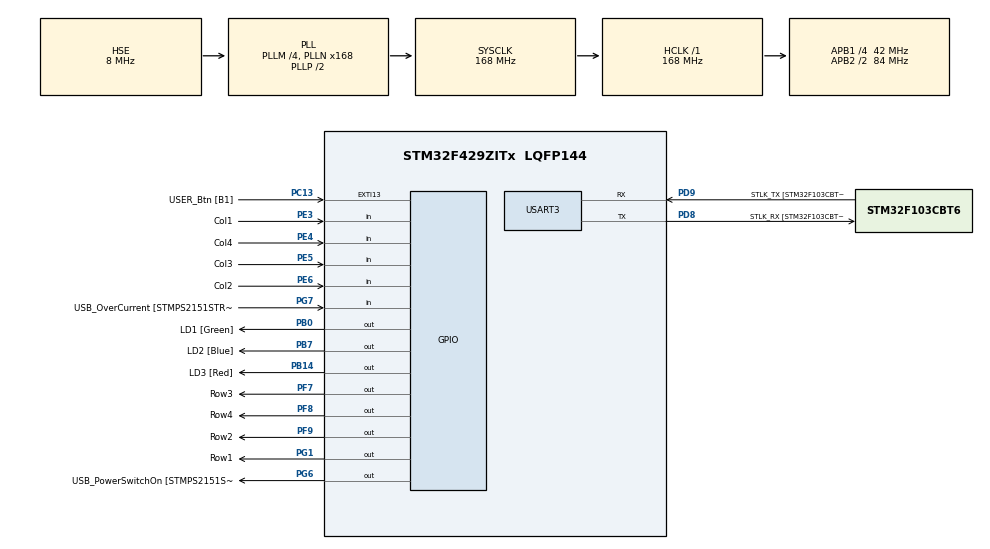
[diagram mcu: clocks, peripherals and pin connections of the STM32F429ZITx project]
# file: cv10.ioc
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Mcu.Family=STM32F4
Mcu.Name=STM32F429ZITx
Mcu.Package=LQFP144
NVIC.PriorityGroup=NVIC_PRIORITYGROUP_4
NVIC.TIM3_IRQn=true\:0\:0\:false\:false\:true\:true\:true\:true
PA1.GPIO_Label=RMII_REF_CLK [LAN8742A-CZ-TR_REFCLK0]
PA1.Signal=ETH_REF_CLK
PA10.GPIO_Label=USB_ID
PA10.Signal=USB_OTG_FS_ID
PA11.GPIO_Label=USB_DM
PA11.Signal=USB_OTG_FS_DM
PA12.GPIO_Label=USB_DP
PA12.Signal=USB_OTG_FS_DP
PA13.GPIO_Label=TMS
PA13.Mode=Serial_Wire
PA13.Signal=SYS_JTMS-SWDIO
PA14.GPIO_Label=TCK
PA14.Mode=Serial_Wire
PA14.Signal=SYS_JTCK-SWCLK
PA2.GPIO_Label=RMII_MDIO [LAN8742A-CZ-TR_MDIO]
PA2.Signal=ETH_MDIO
PA7.GPIO_Label=RMII_CRS_DV [LAN8742A-CZ-TR_CRS_DV]
PA7.Signal=ETH_CRS_DV
PA8.GPIO_Label=USB_SOF [TP1]
PA8.Signal=USB_OTG_FS_SOF
PA9.GPIO_Label=USB_VBUS
PA9.Signal=USB_OTG_FS_VBUS
PB0.GPIO_Label=LD1 [Green]
PB0.Signal=GPIO_Output
PB13.GPIO_Label=RMII_TXD1 [LAN8742A-CZ-TR_TXD1]
PB13.Signal=ETH_TXD1
PB14.GPIO_Label=LD3 [Red]
PB14.Signal=GPIO_Output
PB7.GPIO_Label=LD2 [Blue]
PB7.Signal=GPIO_Output
PC1.GPIO_Label=RMII_MDC [LAN8742A-CZ-TR_MDC]
PC1.Signal=ETH_MDC
PC13.GPIO_Label=USER_Btn [B1]
PC13.Signal=GPXTI13
PC14/OSC32_IN.Mode=LSE-External-Oscillator
PC14/OSC32_IN.Signal=RCC_OSC32_IN
PC15/OSC32_OUT.Mode=LSE-External-Oscillator
PC15/OSC32_OUT.Signal=RCC_OSC32_OUT
PC4.GPIO_Label=RMII_RXD0 [LAN8742A-CZ-TR_RXD0]
PC4.Signal=ETH_RXD0
PC5.GPIO_Label=RMII_RXD1 [LAN8742A-CZ-TR_RXD1]
PC5.Signal=ETH_RXD1
PD8.GPIO_Label=STLK_RX [STM32F103CBT6_PA3]
PD8.Mode=Asynchronous
PD8.Signal=USART3_TX
PD9.GPIO_Label=STLK_TX [STM32F103CBT6_PA2]
PD9.Mode=Asynchronous
PD9.Signal=USART3_RX
PE3.GPIO_Label=Col1
PE3.GPIO_PuPd=GPIO_PULLUP
PE3.Signal=GPIO_Input
PE4.GPIO_Label=Col4
PE4.GPIO_PuPd=GPIO_PULLUP
PE4.Signal=GPIO_Input
PE5.GPIO_Label=Col3
PE5.GPIO_PuPd=GPIO_PULLUP
PE5.Signal=GPIO_Input
PE6.GPIO_Label=Col2
PE6.GPIO_PuPd=GPIO_PULLUP
PE6.Signal=GPIO_Input
PF7.GPIO_Label=Row3
PF7.GPIO_ModeDefaultOutputPP=GPIO_MODE_OUTPUT_OD
PF7.GPIO_PuPd=GPIO_NOPULL
PF7.Signal=GPIO_Output
PF8.GPIO_Label=Row4
PF8.GPIO_ModeDefaultOutputPP=GPIO_MODE_OUTPUT_OD
PF8.GPIO_PuPd=GPIO_NOPULL
PF8.Signal=GPIO_Output
PF9.GPIO_Label=Row2
PF9.GPIO_ModeDefaultOutputPP=GPIO_MODE_OUTPUT_OD
PF9.GPIO_PuPd=GPIO_NOPULL
PF9.Signal=GPIO_Output
PG1.GPIO_Label=Row1
PG1.GPIO_ModeDefaultOutputPP=GPIO_MODE_OUTPUT_OD
PG1.GPIO_PuPd=GPIO_NOPULL
PG1.Signal=GPIO_Output
PG11.GPIO_Label=RMII_TX_EN [LAN8742A-CZ-TR_TXEN]
PG11.Signal=ETH_TX_EN
PG13.GPIO_Label=RMII_TXD0 [LAN8742A-CZ-TR_TXD0]
PG13.Signal=ETH_TXD0
PG6.GPIO_Label=USB_PowerSwitchOn [STMPS2151STR_EN]
PG6.Signal=GPIO_Output
PG7.GPIO_Label=USB_OverCurrent [STMPS2151STR_FAULT]
PG7.Signal=GPIO_Input
PH0/OSC_IN.GPIO_Label=MCO [STM32F103CBT6_PA8]
PH0/OSC_IN.Mode=HSE-External-Clock-Source
PH0/OSC_IN.Signal=RCC_OSC_IN
PH1/OSC_OUT.Mode=HSE-External-Clock-Source
PH1/OSC_OUT.Signal=RCC_OSC_OUT
ProjectManager.HeapSize=0x200
ProjectManager.StackSize=0x400
ProjectManager.TargetToolchain=STM32CubeIDE
RCC.48MHZClocksFreq_Value=48000000
RCC.AHBFreq_Value=168000000
RCC.APB1CLKDivider=RCC_HCLK_DIV4
RCC.APB1Freq_Value=42000000
RCC.APB1TimFreq_Value=84000000
RCC.APB2CLKDivider=RCC_HCLK_DIV2
RCC.APB2Freq_Value=84000000
RCC.APB2TimCLKDivider=2
RCC.APB2TimFreq_Value=168000000
RCC.CortexFreq_Value=168000000
RCC.HCLKFreq_Value=168000000
RCC.HSE_VALUE=8000000
RCC.HSI_VALUE=16000000
RCC.PLLM=4
RCC.PLLMUL=RCC_PLL_MUL9
RCC.PLLN=168
RCC.PLLQ=7
RCC.PLLSourceVirtual=RCC_PLLSOURCE_HSE
RCC.PRESCALERUSB=RCC_USBCLKSOURCE_PLL_DIV1_5
RCC.SYSCLKFreq_VALUE=168000000
RCC.SYSCLKSource=RCC_SYSCLKSOURCE_PLLCLK
RCC.SYSCLKSourceVirtual=RCC_SYSCLKSOURCE_PLLCLK
RCC.USBFreq_Value=48000000
RCC.VCOOutputFreq_Value=336000000
TIM3.Period=99
TIM3.Prescaler=8399
USART3.VirtualMode=VM_ASYNC
VP_TIM3_VS_ClockSourceINT.Mode=Internal
board=NUCLEO-F429ZI

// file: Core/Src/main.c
/* USER CODE BEGIN Header */
/**
  ******************************************************************************
  * @file           : main.c
  * @brief          : Main program body
  ******************************************************************************
  * @attention
  *
  * Copyright (c) 2023 STMicroelectronics.
  * All rights reserved.
  *
  * This software is licensed under terms that can be found in the LICENSE file
  * in the root directory of this software component.
  * If no LICENSE file comes with this software, it is provided AS-IS.
  *
  ******************************************************************************
  */
/* USER CODE END Header */
#include "main.h"

TIM_HandleTypeDef htim3;

UART_HandleTypeDef huart3;

/* USER CODE BEGIN PV */
static volatile  int8_t key = -1;
/* USER CODE END PV */

void SystemClock_Config(void);
static void MX_GPIO_Init(void);
static void MX_USART3_UART_Init(void);
static void MX_TIM3_Init(void);

/* USER CODE BEGIN 0 */
int __io_putchar(int ch)
{
ITM_SendChar(ch);
return 0;
}
/* USER CODE END 0 */

int main(void)
{

  /* MCU Configuration--------------------------------------------------------*/

  /* Reset of all peripherals, Initializes the Flash interface and the Systick. */
  HAL_Init();

  /* Configure the system clock */
  SystemClock_Config();

  /* Initialize all configured peripherals */
  MX_GPIO_Init();
  MX_USART3_UART_Init();
  MX_TIM3_Init();
  /* USER CODE BEGIN 2 */
  HAL_TIM_Base_Start_IT(&htim3);
  const char password[] = { 2, 4, 6, 8, 12 };
  uint8_t lKey;
  uint8_t lastPos;
  /* USER CODE END 2 */

  /* Infinite loop */
	while (1) {
		/* USER CODE BEGIN 3 */

		uint8_t iKey = key;

		if ((lKey != iKey) && (iKey != 255)) {
			printf("%d\n", iKey);
			lKey = iKey;

			if (iKey == password[lastPos]) {
				lastPos++;
				if (lastPos > 4) {
					lastPos = 0;
					printf("You're in! \n");
					HAL_GPIO_WritePin(LD1_GPIO_Port, LD1_Pin,1);
					HAL_Delay(5000);
					HAL_GPIO_WritePin(LD1_GPIO_Port, LD1_Pin,0);
				}
			} else {
				lastPos = 0;
			}
		} else if (iKey == 255) {
			lKey = -1;
		}
		key = -1;
		HAL_Delay(100);
	}
  /* USER CODE END 3 */
}

void SystemClock_Config(void)
{
  RCC_OscInitTypeDef RCC_OscInitStruct = {0};
  RCC_ClkInitTypeDef RCC_ClkInitStruct = {0};

  /** Configure the main internal regulator output voltage
  */
  __HAL_RCC_PWR_CLK_ENABLE();
  __HAL_PWR_VOLTAGESCALING_CONFIG(PWR_REGULATOR_VOLTAGE_SCALE1);

  /** Initializes the RCC Oscillators according to the specified parameters
  * in the RCC_OscInitTypeDef structure.
  */
  RCC_OscInitStruct.OscillatorType = RCC_OSCILLATORTYPE_HSE;
  RCC_OscInitStruct.HSEState = RCC_HSE_BYPASS;
  RCC_OscInitStruct.PLL.PLLState = RCC_PLL_ON;
  RCC_OscInitStruct.PLL.PLLSource = RCC_PLLSOURCE_HSE;
  RCC_OscInitStruct.PLL.PLLM = 4;
  RCC_OscInitStruct.PLL.PLLN = 168;
  RCC_OscInitStruct.PLL.PLLP = RCC_PLLP_DIV2;
  RCC_OscInitStruct.PLL.PLLQ = 7;
  if (HAL_RCC_OscConfig(&RCC_OscInitStruct) != HAL_OK)
  {
    Error_Handler();
  }

  /** Initializes the CPU, AHB and APB buses clocks
  */
  RCC_ClkInitStruct.ClockType = RCC_CLOCKTYPE_HCLK|RCC_CLOCKTYPE_SYSCLK
                              |RCC_CLOCKTYPE_PCLK1|RCC_CLOCKTYPE_PCLK2;
  RCC_ClkInitStruct.SYSCLKSource = RCC_SYSCLKSOURCE_PLLCLK;
  RCC_ClkInitStruct.AHBCLKDivider = RCC_SYSCLK_DIV1;
  RCC_ClkInitStruct.APB1CLKDivider = RCC_HCLK_DIV4;
  RCC_ClkInitStruct.APB2CLKDivider = RCC_HCLK_DIV2;

  if (HAL_RCC_ClockConfig(&RCC_ClkInitStruct, FLASH_LATENCY_5) != HAL_OK)
  {
    Error_Handler();
  }
}

static void MX_TIM3_Init(void)
{

  TIM_ClockConfigTypeDef sClockSourceConfig = {0};
  TIM_MasterConfigTypeDef sMasterConfig = {0};

  htim3.Instance = TIM3;
  htim3.Init.Prescaler = 8399;
  htim3.Init.CounterMode = TIM_COUNTERMODE_UP;
  htim3.Init.Period = 99;
  htim3.Init.ClockDivision = TIM_CLOCKDIVISION_DIV1;
  htim3.Init.AutoReloadPreload = TIM_AUTORELOAD_PRELOAD_DISABLE;
  if (HAL_TIM_Base_Init(&htim3) != HAL_OK)
  {
    Error_Handler();
  }
  sClockSourceConfig.ClockSource = TIM_CLOCKSOURCE_INTERNAL;
  if (HAL_TIM_ConfigClockSource(&htim3, &sClockSourceConfig) != HAL_OK)
  {
    Error_Handler();
  }
  sMasterConfig.MasterOutputTrigger = TIM_TRGO_RESET;
  sMasterConfig.MasterSlaveMode = TIM_MASTERSLAVEMODE_DISABLE;
  if (HAL_TIMEx_MasterConfigSynchronization(&htim3, &sMasterConfig) != HAL_OK)
  {
    Error_Handler();
  }

}

static void MX_USART3_UART_Init(void)
{

  huart3.Instance = USART3;
  huart3.Init.BaudRate = 115200;
  huart3.Init.WordLength = UART_WORDLENGTH_8B;
  huart3.Init.StopBits = UART_STOPBITS_1;
  huart3.Init.Parity = UART_PARITY_NONE;
  huart3.Init.Mode = UART_MODE_TX_RX;
  huart3.Init.HwFlowCtl = UART_HWCONTROL_NONE;
  huart3.Init.OverSampling = UART_OVERSAMPLING_16;
  if (HAL_UART_Init(&huart3) != HAL_OK)
  {
    Error_Handler();
  }

}

static void MX_GPIO_Init(void)
{
  GPIO_InitTypeDef GPIO_InitStruct = {0};

  /* GPIO Ports Clock Enable */
  __HAL_RCC_GPIOE_CLK_ENABLE();
  __HAL_RCC_GPIOC_CLK_ENABLE();
  __HAL_RCC_GPIOF_CLK_ENABLE();
  __HAL_RCC_GPIOH_CLK_ENABLE();
  __HAL_RCC_GPIOA_CLK_ENABLE();
  __HAL_RCC_GPIOB_CLK_ENABLE();
  __HAL_RCC_GPIOG_CLK_ENABLE();
  __HAL_RCC_GPIOD_CLK_ENABLE();

  /*Configure GPIO pin Output Level */
  HAL_GPIO_WritePin(GPIOF, Row3_Pin|Row4_Pin|Row2_Pin, GPIO_PIN_RESET);

  /*Configure GPIO pin Output Level */
  HAL_GPIO_WritePin(GPIOB, LD1_Pin|LD3_Pin|LD2_Pin, GPIO_PIN_RESET);

  /*Configure GPIO pin Output Level */
  HAL_GPIO_WritePin(GPIOG, Row1_Pin|USB_PowerSwitchOn_Pin, GPIO_PIN_RESET);

  /*Configure GPIO pins : Col1_Pin Col4_Pin Col3_Pin Col2_Pin */
  GPIO_InitStruct.Pin = Col1_Pin|Col4_Pin|Col3_Pin|Col2_Pin;
  GPIO_InitStruct.Mode = GPIO_MODE_INPUT;
  GPIO_InitStruct.Pull = GPIO_PULLUP;
  HAL_GPIO_Init(GPIOE, &GPIO_InitStruct);

  /*Configure GPIO pin : USER_Btn_Pin */
  GPIO_InitStruct.Pin = USER_Btn_Pin;
  GPIO_InitStruct.Mode = GPIO_MODE_IT_RISING;
  GPIO_InitStruct.Pull = GPIO_NOPULL;
  HAL_GPIO_Init(USER_Btn_GPIO_Port, &GPIO_InitStruct);

  /*Configure GPIO pins : Row3_Pin Row4_Pin Row2_Pin */
  GPIO_InitStruct.Pin = Row3_Pin|Row4_Pin|Row2_Pin;
  GPIO_InitStruct.Mode = GPIO_MODE_OUTPUT_OD;
  GPIO_InitStruct.Pull = GPIO_NOPULL;
  GPIO_InitStruct.Speed = GPIO_SPEED_FREQ_LOW;
  HAL_GPIO_Init(GPIOF, &GPIO_InitStruct);

  /*Configure GPIO pins : RMII_MDC_Pin RMII_RXD0_Pin RMII_RXD1_Pin */
  GPIO_InitStruct.Pin = RMII_MDC_Pin|RMII_RXD0_Pin|RMII_RXD1_Pin;
  GPIO_InitStruct.Mode = GPIO_MODE_AF_PP;
  GPIO_InitStruct.Pull = GPIO_NOPULL;
  GPIO_InitStruct.Speed = GPIO_SPEED_FREQ_VERY_HIGH;
  GPIO_InitStruct.Alternate = GPIO_AF11_ETH;
  HAL_GPIO_Init(GPIOC, &GPIO_InitStruct);

  /*Configure GPIO pins : RMII_REF_CLK_Pin RMII_MDIO_Pin RMII_CRS_DV_Pin */
  GPIO_InitStruct.Pin = RMII_REF_CLK_Pin|RMII_MDIO_Pin|RMII_CRS_DV_Pin;
  GPIO_InitStruct.Mode = GPIO_MODE_AF_PP;
  GPIO_InitStruct.Pull = GPIO_NOPULL;
  GPIO_InitStruct.Speed = GPIO_SPEED_FREQ_VERY_HIGH;
  GPIO_InitStruct.Alternate = GPIO_AF11_ETH;
  HAL_GPIO_Init(GPIOA, &GPIO_InitStruct);

  /*Configure GPIO pins : LD1_Pin LD3_Pin LD2_Pin */
  GPIO_InitStruct.Pin = LD1_Pin|LD3_Pin|LD2_Pin;
  GPIO_InitStruct.Mode = GPIO_MODE_OUTPUT_PP;
  GPIO_InitStruct.Pull = GPIO_NOPULL;
  GPIO_InitStruct.Speed = GPIO_SPEED_FREQ_LOW;
  HAL_GPIO_Init(GPIOB, &GPIO_InitStruct);

  /*Configure GPIO pin : Row1_Pin */
  GPIO_InitStruct.Pin = Row1_Pin;
  GPIO_InitStruct.Mode = GPIO_MODE_OUTPUT_OD;
  GPIO_InitStruct.Pull = GPIO_NOPULL;
  GPIO_InitStruct.Speed = GPIO_SPEED_FREQ_LOW;
  HAL_GPIO_Init(Row1_GPIO_Port, &GPIO_InitStruct);

  /*Configure GPIO pin : RMII_TXD1_Pin */
  GPIO_InitStruct.Pin = RMII_TXD1_Pin;
  GPIO_InitStruct.Mode = GPIO_MODE_AF_PP;
  GPIO_InitStruct.Pull = GPIO_NOPULL;
  GPIO_InitStruct.Speed = GPIO_SPEED_FREQ_VERY_HIGH;
  GPIO_InitStruct.Alternate = GPIO_AF11_ETH;
  HAL_GPIO_Init(RMII_TXD1_GPIO_Port, &GPIO_InitStruct);

  /*Configure GPIO pin : USB_PowerSwitchOn_Pin */
  GPIO_InitStruct.Pin = USB_PowerSwitchOn_Pin;
  GPIO_InitStruct.Mode = GPIO_MODE_OUTPUT_PP;
  GPIO_InitStruct.Pull = GPIO_NOPULL;
  GPIO_InitStruct.Speed = GPIO_SPEED_FREQ_LOW;
  HAL_GPIO_Init(USB_PowerSwitchOn_GPIO_Port, &GPIO_InitStruct);

  /*Configure GPIO pin : USB_OverCurrent_Pin */
  GPIO_InitStruct.Pin = USB_OverCurrent_Pin;
  GPIO_InitStruct.Mode = GPIO_MODE_INPUT;
  GPIO_InitStruct.Pull = GPIO_NOPULL;
  HAL_GPIO_Init(USB_OverCurrent_GPIO_Port, &GPIO_InitStruct);

  /*Configure GPIO pins : USB_SOF_Pin USB_ID_Pin USB_DM_Pin USB_DP_Pin */
  GPIO_InitStruct.Pin = USB_SOF_Pin|USB_ID_Pin|USB_DM_Pin|USB_DP_Pin;
  GPIO_InitStruct.Mode = GPIO_MODE_AF_PP;
  GPIO_InitStruct.Pull = GPIO_NOPULL;
  GPIO_InitStruct.Speed = GPIO_SPEED_FREQ_VERY_HIGH;
  GPIO_InitStruct.Alternate = GPIO_AF10_OTG_FS;
  HAL_GPIO_Init(GPIOA, &GPIO_InitStruct);

  /*Configure GPIO pin : USB_VBUS_Pin */
  GPIO_InitStruct.Pin = USB_VBUS_Pin;
  GPIO_InitStruct.Mode = GPIO_MODE_INPUT;
  GPIO_InitStruct.Pull = GPIO_NOPULL;
  HAL_GPIO_Init(USB_VBUS_GPIO_Port, &GPIO_InitStruct);

  /*Configure GPIO pins : RMII_TX_EN_Pin RMII_TXD0_Pin */
  GPIO_InitStruct.Pin = RMII_TX_EN_Pin|RMII_TXD0_Pin;
  GPIO_InitStruct.Mode = GPIO_MODE_AF_PP;
  GPIO_InitStruct.Pull = GPIO_NOPULL;
  GPIO_InitStruct.Speed = GPIO_SPEED_FREQ_VERY_HIGH;
  GPIO_InitStruct.Alternate = GPIO_AF11_ETH;
  HAL_GPIO_Init(GPIOG, &GPIO_InitStruct);

}

/* USER CODE BEGIN 4 */
void HAL_TIM_PeriodElapsedCallback(TIM_HandleTypeDef *htim)
{
 static int row = 0;
 static const int keyboard[4][4] = {
 { 1, 2, 3, 21 },
 { 4, 5, 6, 22 },
 { 7, 8, 9, 23 },
 { 11, 0, 12, 24 },
 };
 if (key == -1) {
 if (HAL_GPIO_ReadPin(Col1_GPIO_Port, Col1_Pin) == GPIO_PIN_RESET) key = keyboard[row][0];
 if (HAL_GPIO_ReadPin(Col2_GPIO_Port, Col2_Pin) == GPIO_PIN_RESET) key = keyboard[row][1];
 if (HAL_GPIO_ReadPin(Col3_GPIO_Port, Col3_Pin) == GPIO_PIN_RESET) key = keyboard[row][2];
 if (HAL_GPIO_ReadPin(Col4_GPIO_Port, Col4_Pin) == GPIO_PIN_RESET) key = keyboard[row][3];
 }
 HAL_GPIO_WritePin(Row1_GPIO_Port, Row1_Pin, GPIO_PIN_SET);
 HAL_GPIO_WritePin(Row2_GPIO_Port, Row2_Pin, GPIO_PIN_SET);
 HAL_GPIO_WritePin(Row3_GPIO_Port, Row3_Pin, GPIO_PIN_SET);
 HAL_GPIO_WritePin(Row4_GPIO_Port, Row4_Pin, GPIO_PIN_SET);
 switch (row) {
 case 0: row = 1; HAL_GPIO_WritePin(Row2_GPIO_Port, Row2_Pin, GPIO_PIN_RESET); break;
 case 1: row = 2; HAL_GPIO_WritePin(Row3_GPIO_Port, Row3_Pin, GPIO_PIN_RESET); break;
 case 2: row = 3; HAL_GPIO_WritePin(Row4_GPIO_Port, Row4_Pin, GPIO_PIN_RESET); break;
 case 3: row = 0; HAL_GPIO_WritePin(Row1_GPIO_Port, Row1_Pin, GPIO_PIN_RESET); break;
 }
}

/* USER CODE END 4 */

void Error_Handler(void)
{
  __disable_irq();
  while (1)
  {
  }
}
